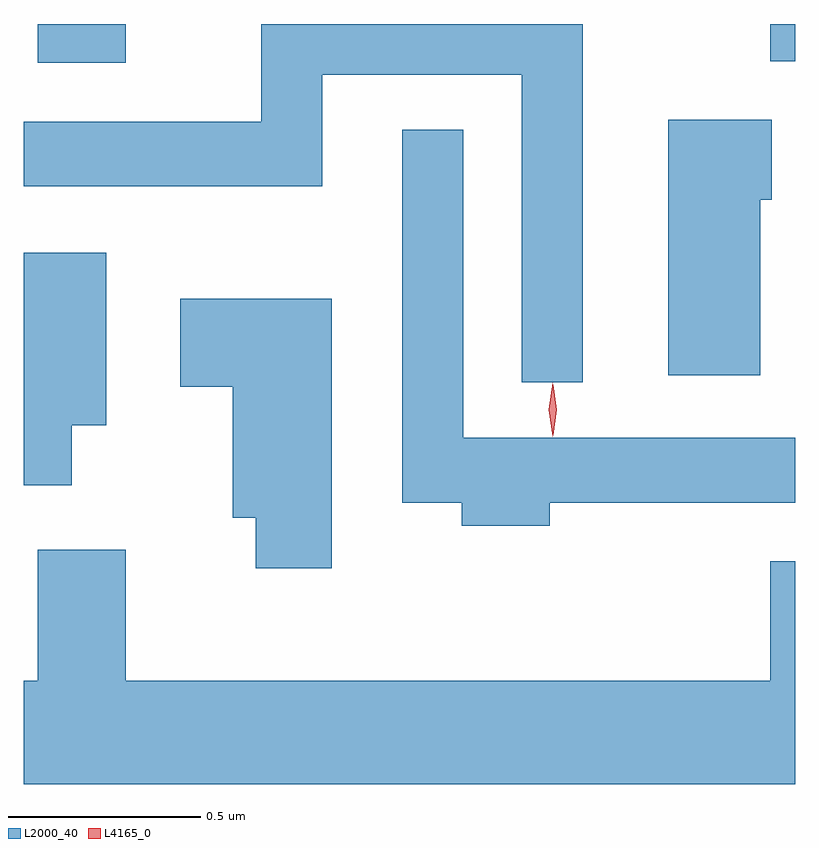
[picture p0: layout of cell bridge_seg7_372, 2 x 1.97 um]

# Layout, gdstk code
import gdstk
lib = gdstk.Library(unit=1e-6, precision=1e-09)
def R(c, l, rs):  # rectangles x0, y0, x1, y1
    for r in rs: c.add(gdstk.rectangle(r[:2], r[2:], *l))
def P(c, l, *ps):  # polygons
    for p in ps: c.add(gdstk.Polygon(p, *l))
L2000_40 = (2000, 40)
L4165_0 = (4165, 0)

bridge_seg7_372 = lib.new_cell('bridge_seg7_372')
R(bridge_seg7_372, L2000_40, [(1141.581,1745.046,1141.809,1745.147), (1143.481,1745.051,1143.545,1745.147)])
P(bridge_seg7_372, L2000_40, [(1142.994,1745.147),(1142.161,1745.147),(1142.161,1744.894),(1141.545,1744.894),(1141.545,1744.726),(1142.319,1744.726),(1142.319,1745.016),(1142.836,1745.016),(1142.836,1744.218),(1142.994,1744.218)],
  [(1143.454,1744.691),(1143.484,1744.691),(1143.484,1744.899),(1143.216,1744.899),(1143.216,1744.236),(1143.454,1744.236)],
  [(1142.909,1743.906),(1143.545,1743.906),(1143.545,1744.074),(1142.684,1744.074),(1142.684,1744.873),(1142.526,1744.873),(1142.526,1743.906),(1142.681,1743.906),(1142.681,1743.846),(1142.909,1743.846)],
  [(1141.669,1744.106),(1141.759,1744.106),(1141.759,1744.554),(1141.545,1744.554),(1141.545,1743.951),(1141.669,1743.951)],
  [(1142.344,1744.434),(1141.951,1744.434),(1141.951,1744.206),(1142.086,1744.206),(1142.086,1743.866),(1142.146,1743.866),(1142.146,1743.736),(1142.344,1743.736)],
  [(1143.545,1743.754),(1143.481,1743.754),(1143.481,1743.444),(1141.809,1743.444),(1141.809,1743.784),(1141.581,1743.784),(1141.581,1743.444),(1141.545,1743.444),(1141.545,1743.176),(1143.545,1743.176)])
P(bridge_seg7_372, L4165_0, [(1142.916,1744.077),(1142.916,1744.078),(1142.906,1744.147),(1142.916,1744.216),(1142.916,1744.216),(1142.917,1744.216),(1142.926,1744.147),(1142.917,1744.078)],
  [(1142.917,1744.079),(1142.917,1744.08),(1142.907,1744.146),(1142.917,1744.212),(1142.917,1744.213),(1142.918,1744.212),(1142.927,1744.146),(1142.918,1744.08)])

lib.write_gds('bridge_seg7_372.gds')
